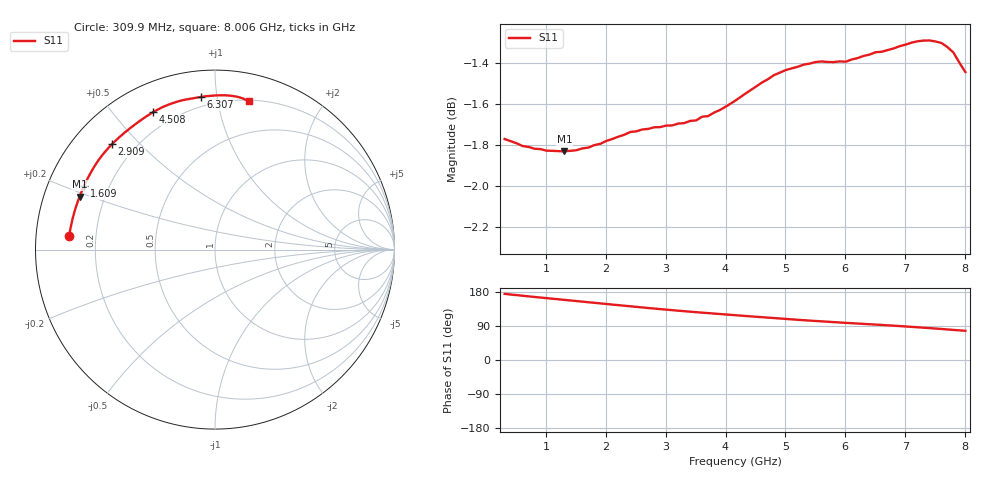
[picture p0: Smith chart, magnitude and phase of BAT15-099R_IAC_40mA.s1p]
! Infineon Technologies  Discrete & RF Semiconductors
! BAT15-099R
! IAC = 40 mA
! One-Port S-Parameters
# Hz  S  MA  R  50
!f  S11
!Hz  Mag  Ang
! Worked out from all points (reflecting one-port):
!   78 points, 309.9 MHz to 8.006 GHz, reference 50 ohm
!   lowest |S11| = -1.8 dB at 1.309 GHz (marker M1), VSWR 9.52, Z = 5.44 + j9.33 ohm
!   phase of S11 starts at 175 deg and turns -98 deg over the sweep
!   S11 on the Smith chart (normalised r, x): 309.9 MHz: 0.10, +0.05; 1.609 GHz: 0.11, +0.23; 2.909 GHz: 0.12, +0.42; 4.508 GHz: 0.12, +0.64; 6.307 GHz: 0.14, +0.90; 8.006 GHz: 0.21, +1.23
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3.0985e8  0.8155 174.6
4.098e8  0.8146 172.8
7.0965e8  0.8119 168.0
1.0095e9  0.8103 163.3
1.30935e9  0.8099 158.6
1.6092e9  0.8113 154.0
2.009e9  0.8147 147.8
2.30885e9  0.8175 143.2
2.4088e9  0.8187 141.8
2.70865e9  0.8202 137.2
2.90855e9  0.821 134.3
3.2084e9  0.8226 130.1
3.6082e9  0.8258 125.0
4.2079e9  0.8341 117.7
4.50775e9  0.8398 114.1
4.8076e9  0.8452 110.7
5.2074e9  0.8492 106.1
5.50725e9  0.8515 103.0
6.007e9  0.8516 98.0
6.10695e9  0.8527 97.1
6.30685e9  0.8544 95.3
6.8066e9  0.8579 90.6
7.10645e9  0.8607 87.4
7.4063e9  0.8618 84.2
7.50625e9  0.8613 83.0
7.6062e9  0.8606 81.9
7.8061e9  0.856 79.4
8.006e9  0.8467 77.0
